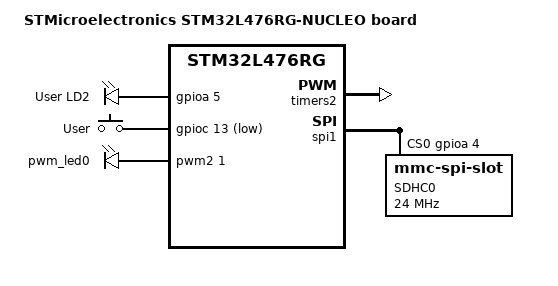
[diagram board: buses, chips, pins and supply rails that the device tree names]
/*
 * Copyright (c) 2019 STMicroelectronics
 *
 * SPDX-License-Identifier: Apache-2.0
 */
 
 / {
	model = "STMicroelectronics STM32L476RG-NUCLEO board";
	compatible = "st,stm32l476rg-nucleo";
	
	chosen {
		zephyr,console = &usart2;
		zephyr,shell-uart = &usart2;
		zephyr,sram = &sram0;
		zephyr,flash = &flash0;
	};

	leds {
		compatible = "gpio-leds";
		green_led_2: led_2 {
			gpios = <&gpioa 5 GPIO_ACTIVE_HIGH>;
			label = "User LD2";
		};
	};

	gpio_keys {
		compatible = "gpio-keys";
		user_button: button {
			label = "User";
			gpios = <&gpioc 13 GPIO_ACTIVE_LOW>;
		};
	};

	pwmleds {
		compatible = "pwm-leds";
		pwm_led0: pwm_led_0 
		{
			pwms = <&pwm2 1 1000 PWM_POLARITY_NORMAL>;
		};
	};

	aliases {
		led0 = &green_led_2;
		sw0 = &user_button;
		pwm-led0 = &pwm_led0;
	};
};

&timers2 {
	status = "okay";
	
	pwm2: pwm {
		status = "okay";
		pinctrl-0 = <&tim2_ch1_pa0>;
	};
};

&spi1 {
	status = "okay";
	cs-gpios = <&gpioa 4 GPIO_ACTIVE_HIGH>;

	sdhc0: sdhc@0
	{
		compatible = "zephyr,mmc-spi-slot";
		reg = <0>;
		status = "okay";
		label = "SDHC0";
		spi-max-frequency = <24000000>;
	};
};
